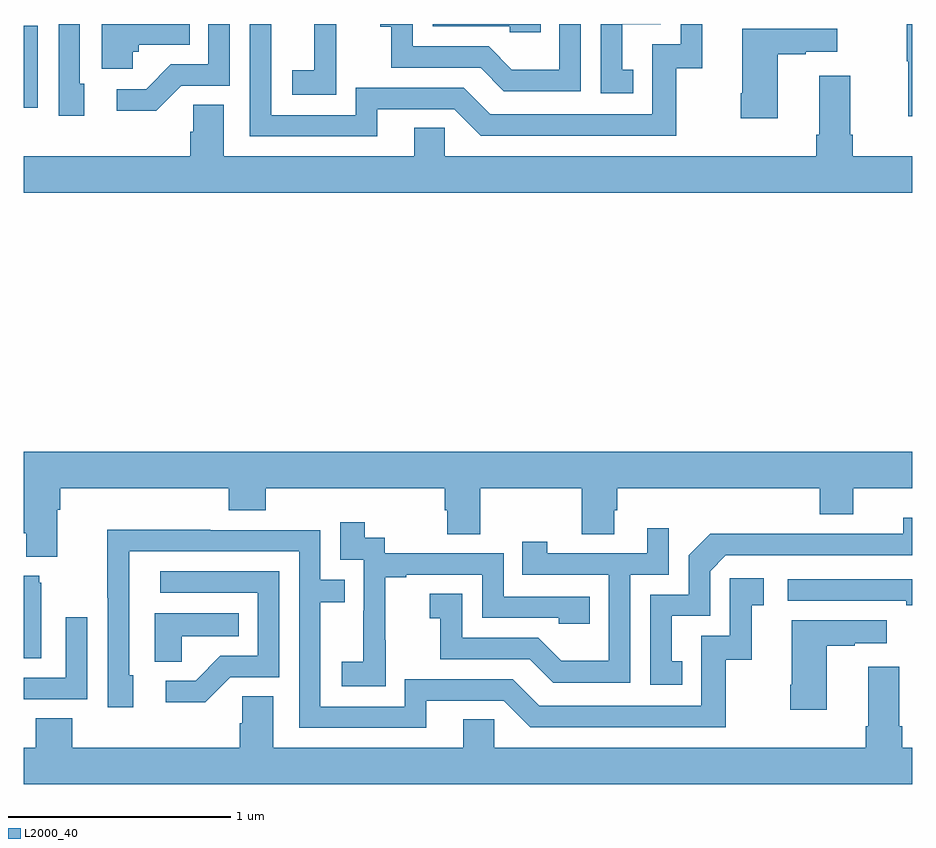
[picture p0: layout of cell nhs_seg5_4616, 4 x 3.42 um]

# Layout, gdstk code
import gdstk
lib = gdstk.Library(unit=1e-6, precision=1e-09)
def R(c, l, rs):  # rectangles x0, y0, x1, y1
    for r in rs: c.add(gdstk.rectangle(r[:2], r[2:], *l))
def P(c, l, *ps):  # polygons
    for p in ps: c.add(gdstk.Polygon(p, *l))
L2000_40 = (2000, 40)

nhs_seg5_4616 = lib.new_cell('nhs_seg5_4616')
R(nhs_seg5_4616, L2000_40, [(381,910.422,381.063,910.792)])
P(nhs_seg5_4616, L2000_40, [(381.271,910.53),(381.252,910.53),(381.252,910.799),(381.156,910.799),(381.156,910.386),(381.271,910.386)],
  [(385,910.799),(384.975,910.799),(384.975,910.632),(384.982,910.632),(384.982,910.383),(385,910.383)],
  [(381.489,910.674),(381.516,910.674),(381.516,910.706),(381.746,910.706),(381.746,910.799),(381.35,910.799),(381.35,910.598),(381.489,910.598)],
  [(381.708,910.521),(381.927,910.521),(381.927,910.799),(381.831,910.799),(381.831,910.617),(381.662,910.617),(381.551,910.506),(381.417,910.506),(381.417,910.409),(381.595,910.409)],
  [(383.508,910.799),(383.412,910.799),(383.412,910.594),(383.198,910.594),(383.094,910.698),(382.752,910.698),(382.752,910.799),(382.605,910.799),(382.605,910.787),(382.654,910.787),(382.654,910.602),(383.057,910.602),(383.162,910.497),(383.508,910.497)],
  [(382.591,910.416),(382.938,910.416),(383.058,910.296),(383.938,910.296),(383.938,910.599),(384.056,910.599),(384.056,910.799),(383.958,910.799),(383.958,910.707),(383.829,910.707),(383.829,910.392),(383.1,910.392),(382.98,910.512),(382.494,910.512),(382.494,910.389),(382.113,910.389),(382.113,910.799),(382.017,910.799),(382.017,910.293),(382.591,910.293)],
  [(383.744,910.593),(383.695,910.593),(383.695,910.797),(383.868,910.797),(383.868,910.799),(383.598,910.799),(383.598,910.488),(383.744,910.488)],
  [(382.407,910.687),(382.406,910.687),(382.406,910.799),(382.307,910.799),(382.307,910.591),(382.209,910.591),(382.209,910.481),(382.407,910.481)],
  [(383.327,910.799),(382.842,910.799),(382.842,910.788),(383.187,910.788),(383.187,910.761),(383.327,910.761)],
  [(384.394,910.663),(384.521,910.663),(384.521,910.673),(384.664,910.673),(384.664,910.777),(384.236,910.777),(384.236,910.486),(384.229,910.486),(384.229,910.374),(384.394,910.374)],
  [(385,910.204),(384.734,910.204),(384.734,910.3),(384.721,910.3),(384.721,910.567),(384.581,910.567),(384.581,910.3),(384.569,910.3),(384.569,910.204),(382.896,910.204),(382.896,910.331),(382.757,910.331),(382.757,910.204),(381.901,910.204),(381.901,910.436),(381.762,910.436),(381.762,910.313),(381.749,910.313),(381.749,910.204),(381,910.204),(381,910.04),(385,910.04)],
  [(381,908.506),(381.011,908.506),(381.011,908.399),(381.151,908.399),(381.151,908.612),(381.164,908.612),(381.164,908.708),(381.923,908.708),(381.923,908.609),(382.088,908.609),(382.088,908.708),(382.895,908.708),(382.895,908.61),(382.907,908.61),(382.907,908.5),(383.055,908.5),(383.055,908.708),(383.512,908.708),(383.512,908.5),(383.659,908.5),(383.659,908.61),(383.672,908.61),(383.672,908.708),(384.584,908.708),(384.584,908.591),(384.736,908.591),(384.736,908.708),(385,908.708),(385,908.872),(381,908.872)],
  [(383.966,907.929),(383.917,907.929),(383.917,908.133),(384.09,908.133),(384.09,908.334),(384.162,908.406),(385,908.406),(385,908.575),(384.96,908.575),(384.96,908.502),(384.5,908.502),(384.5,908.504),(384.092,908.504),(383.994,908.406),(383.994,908.229),(383.82,908.229),(383.82,907.824),(383.966,907.824)],
  [(382.629,908.023),(382.628,908.023),(382.628,908.307),(382.723,908.307),(382.723,908.319),(383.064,908.319),(383.064,908.124),(383.409,908.124),(383.409,908.097),(383.549,908.097),(383.549,908.22),(383.16,908.22),(383.16,908.415),(382.626,908.415),(382.626,908.484),(382.534,908.484),(382.534,908.554),(382.425,908.554),(382.425,908.385),(382.53,908.385),(382.53,908.156),(382.529,908.156),(382.529,907.927),(382.431,907.927),(382.431,907.817),(382.629,907.817)],
  [(383.73,908.319),(383.904,908.319),(383.904,908.527),(383.807,908.527),(383.807,908.415),(383.356,908.415),(383.356,908.467),(383.245,908.467),(383.245,908.319),(383.634,908.319),(383.634,907.93),(383.42,907.93),(383.316,908.034),(382.974,908.034),(382.974,908.233),(382.827,908.233),(382.827,908.123),(382.876,908.123),(382.876,907.938),(383.279,907.938),(383.384,907.833),(383.73,907.833)],
  [(382.813,907.752),(383.16,907.752),(383.28,907.632),(384.16,907.632),(384.16,907.935),(384.278,907.935),(384.278,908.181),(384.331,908.181),(384.331,908.302),(384.18,908.302),(384.18,908.043),(384.051,908.043),(384.051,907.728),(383.322,907.728),(383.202,907.848),(382.716,907.848),(382.716,907.725),(382.335,907.725),(382.335,908.194),(382.445,908.194),(382.445,908.295),(382.335,908.295),(382.335,908.52),(381.839,908.52),(381.839,908.522),(381.376,908.522),(381.376,908.215),(381.378,908.215),(381.378,907.722),(381.493,907.722),(381.493,907.866),(381.474,907.866),(381.474,908.424),(382.239,908.424),(382.239,907.629),(382.813,907.629)],
  [(381.93,907.857),(382.149,907.857),(382.149,908.334),(381.615,908.334),(381.615,908.238),(382.053,908.238),(382.053,907.953),(381.884,907.953),(381.773,907.842),(381.639,907.842),(381.639,907.745),(381.817,907.745)],
  [(381.079,908.283),(381.068,908.283),(381.068,908.314),(381,908.314),(381,907.943),(381.079,907.943)],
  [(385,908.298),(384.441,908.298),(384.441,908.202),(384.973,908.202),(384.973,908.182),(385,908.182)],
  [(381.711,908.042),(381.968,908.042),(381.968,908.146),(381.59,908.146),(381.59,907.927),(381.711,907.927)],
  [(381.285,908.128),(381.189,908.128),(381.189,907.854),(381,907.854),(381,907.758),(381.285,907.758)],
  [(384.616,907.999),(384.743,907.999),(384.743,908.009),(384.886,908.009),(384.886,908.113),(384.458,908.113),(384.458,907.822),(384.451,907.822),(384.451,907.71),(384.616,907.71)],
  [(385,907.54),(384.956,907.54),(384.956,907.636),(384.943,907.636),(384.943,907.903),(384.803,907.903),(384.803,907.636),(384.791,907.636),(384.791,907.54),(383.118,907.54),(383.118,907.667),(382.979,907.667),(382.979,907.54),(382.123,907.54),(382.123,907.772),(381.984,907.772),(381.984,907.649),(381.971,907.649),(381.971,907.54),(381.218,907.54),(381.218,907.673),(381.053,907.673),(381.053,907.54),(381,907.54),(381,907.376),(385,907.376)])

lib.write_gds('nhs_seg5_4616.gds')
